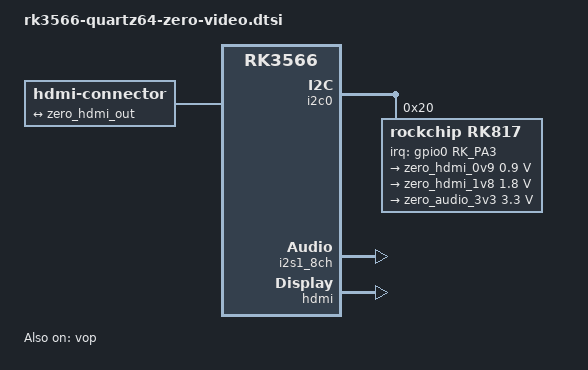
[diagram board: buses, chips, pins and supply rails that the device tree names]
// SPDX-License-Identifier: (GPL-2.0+ OR MIT)
/* Zero schematic v0.1: LDO2/LDO7 feed HDMI; LDO4 supplies I2S1 IO. */
#include <dt-bindings/soc/rockchip,vop2.h>
/ {
    hdmi-con {
        compatible = "hdmi-connector";
        type = "a";
        port { zero_hdmi_con: endpoint { remote-endpoint = <&zero_hdmi_out>; }; };
    };
    zero_sound: sound {
        compatible = "simple-audio-card";
        simple-audio-card,name = "Quartz64-Zero RK817";
        simple-audio-card,format = "i2s";
        simple-audio-card,mclk-fs = <256>;
        simple-audio-card,bitclock-master = <&zero_i2s_cpu>;
        simple-audio-card,frame-master = <&zero_i2s_cpu>;
        zero_i2s_cpu: simple-audio-card,cpu { sound-dai = <&i2s1_8ch>; };
        simple-audio-card,codec { sound-dai = <&rk817>; };
    };
};
&i2c0 {
    status = "okay";
    rk817: pmic@20 {
        compatible = "rockchip,rk817";
        reg = <0x20>;
        interrupt-parent = <&gpio0>;
        interrupts = <RK_PA3 IRQ_TYPE_LEVEL_LOW>;
        #clock-cells = <1>;
        #sound-dai-cells = <0>;
        clocks = <&cru I2S1_MCLKOUT_TX>;
        clock-names = "mclk";
        codec {};
        regulators {
            zero_hdmi_0v9: LDO_REG2 {
                regulator-name = "vdda0v9_image";
                regulator-min-microvolt = <900000>;
                regulator-max-microvolt = <900000>;
                regulator-always-on;
                regulator-boot-on;
            };
            zero_hdmi_1v8: LDO_REG7 {
                regulator-name = "vcca1v8_image";
                regulator-min-microvolt = <1800000>;
                regulator-max-microvolt = <1800000>;
                regulator-always-on;
                regulator-boot-on;
            };
            zero_audio_3v3: LDO_REG4 {
                regulator-name = "vccio_acodec";
                regulator-min-microvolt = <3300000>;
                regulator-max-microvolt = <3300000>;
                regulator-always-on;
                regulator-boot-on;
            };
        };
    };
};
&pmu_io_domains {
    vccio1-supply = <&zero_audio_3v3>;
    status = "okay";
};
&i2s1_8ch {
    #sound-dai-cells = <0>;
    pinctrl-names = "default";
    pinctrl-0 = <&i2s1m0_mclk &i2s1m0_sclktx &i2s1m0_lrcktx &i2s1m0_sdo0>;
    rockchip,playback-only;
    status = "okay";
};
&hdmi {
    avdd-0v9-supply = <&zero_hdmi_0v9>;
    avdd-1v8-supply = <&zero_hdmi_1v8>;
    status = "okay";
};
&hdmi_in { zero_hdmi_in: endpoint { remote-endpoint = <&zero_vp0_hdmi>; }; };
&hdmi_out { zero_hdmi_out: endpoint { remote-endpoint = <&zero_hdmi_con>; }; };
&vop {
    assigned-clocks = <&cru DCLK_VOP0>, <&cru DCLK_VOP1>;
    assigned-clock-parents = <&pmucru PLL_HPLL>, <&cru PLL_VPLL>;
    status = "okay";
};
&vp0 {
    zero_vp0_hdmi: endpoint@ROCKCHIP_VOP2_EP_HDMI0 {
        reg = <ROCKCHIP_VOP2_EP_HDMI0>;
        remote-endpoint = <&zero_hdmi_in>;
    };
};
/* HDMI audio remains disabled; RK817 headphone PCM uses separate I2S1. */
